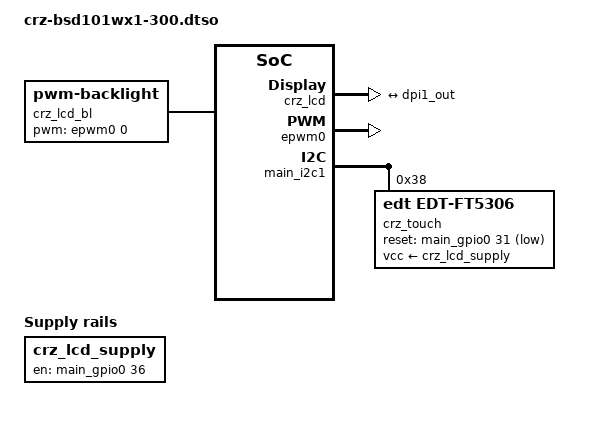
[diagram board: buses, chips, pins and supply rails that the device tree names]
// SPDX-License-Identifier: GPL-2.0-only OR MIT
// Derived from project vendor 2023 reference BSD101WX1-300 timings/pins.
/dts-v1/;
/plugin/;
#include <dt-bindings/gpio/gpio.h>
#include <dt-bindings/interrupt-controller/irq.h>
#include "k3-pinctrl.h"

&{/} {
    // Shared LCD enable must be asserted before touch-controller identification.
    crz_lcd_supply: regulator-crz-lcd {
        compatible = "regulator-fixed";
        regulator-name = "crz-lcd-enable";
        pinctrl-names = "default";
        pinctrl-0 = <&crz_lcd_enable_pins>;
        gpio = <&main_gpio0 36 GPIO_ACTIVE_HIGH>;
        enable-active-high;
        regulator-boot-on;
        regulator-always-on;
        startup-delay-us = <300000>;
    };

    crz_lcd_bl: backlight-crz {
        compatible = "pwm-backlight";
        pwms = <&epwm0 0 50000 0>;
        brightness-levels = <0 32 64 96 128 160 192 224 255>;
        num-interpolated-steps = <32>;
        default-brightness-level = <256>;
    };
    crz_lcd: display-crz {
        compatible = "bestar,bsd101wx1-300";
        backlight = <&crz_lcd_bl>;
        power-supply = <&crz_lcd_supply>;
        // Vendor physical dimensions are inconsistent with 10.1 inches; omitted.
        // Fixed timing and RGB888 bus format supplied by companion driver patch.
        port {
            crz_lcd_in: endpoint { remote-endpoint = <&dpi1_out>; };
        };
    };
};

&main_pmx0 {
    crz_lcd_pwm_pins: crz-lcd-pwm-pins {
        pinctrl-single,pins = <AM62X_IOPAD(0x01ac, PIN_OUTPUT, 6)>;
    };
    crz_lcd_enable_pins: crz-lcd-enable-pins {
        pinctrl-single,pins = <AM62X_IOPAD(0x0094, PIN_OUTPUT, 7) /* (N20) GPMC0_BE1n.GPIO0_36 */>;
    };
    crz_touch_pins: crz-touch-pins {
        pinctrl-single,pins = <
            AM62X_IOPAD(0x00a4, PIN_INPUT_PULLUP, 7)
            AM62X_IOPAD(0x007c, PIN_OUTPUT, 7)
        >;
    };
};
&epwm0 {
    pinctrl-names = "default";
    pinctrl-0 = <&crz_lcd_pwm_pins>;
    status = "okay";
};
&vdd_sd_dv { status = "disabled"; }; // GPIO31 shared with touch reset; SD uses fixed 3.3V.
&sii9022 { status = "disabled"; };
&dpi1_out { remote-endpoint = <&crz_lcd_in>; };
&dss { pixel-format = "RGB24"; };
&main_i2c1 {
    #address-cells = <1>;
    #size-cells = <0>;
    status = "okay";
    crz_touch: touchscreen@38 {
        compatible = "edt,edt-ft5306", "edt,edt-ft5x06";
        reg = <0x38>;
        vcc-supply = <&crz_lcd_supply>;
        pinctrl-names = "default";
        pinctrl-0 = <&crz_touch_pins>;
        // TI driver uses its built-in 17ms polling mode when IRQ is absent.
        reset-gpios = <&main_gpio0 31 GPIO_ACTIVE_LOW>;
        touchscreen-size-x = <1280>;
        touchscreen-size-y = <800>;
    };
};
